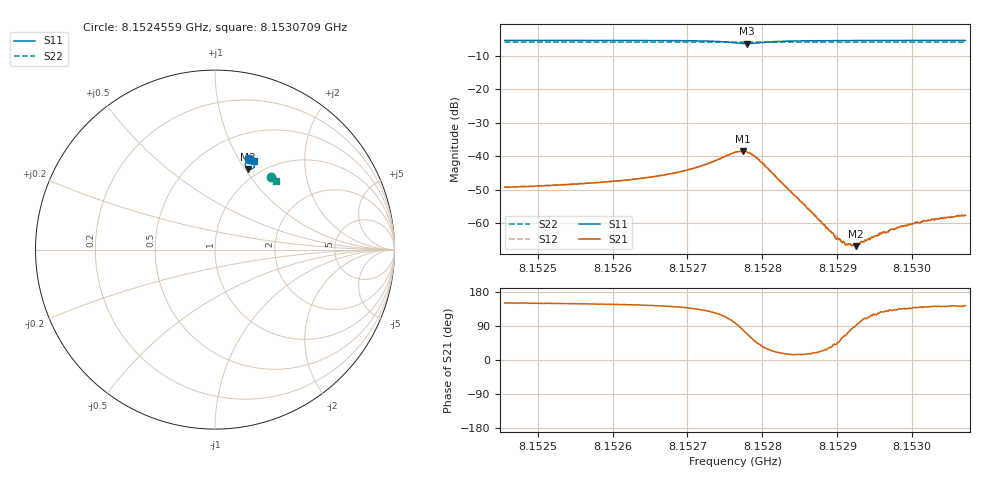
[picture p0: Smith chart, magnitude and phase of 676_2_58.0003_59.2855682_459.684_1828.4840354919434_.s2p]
#  HZ  S  RI  R  50.00
! Rohde & Schwarz Vector Network Analyzer
! Rohde-Schwarz,ZNB20-2Port,1311601062101988,3.16
! Created: UTC 3/21/2024, 1:20:40 AM
! freq[Hz]  re:S11  im:S11  re:S21  im:S21  re:S12  im:S12  re:S22  im:S22
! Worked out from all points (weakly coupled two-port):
!   401 points, 8.1524559 GHz to 8.1530709 GHz, reference 50 ohm
!   highest |S21| = -38.47 dB at 8.1527742 GHz (marker M1); lowest = -66.9 dB at 8.1529248 GHz (marker M2)
!   lowest |S11| = -6.3 dB at 8.1527788 GHz (marker M3), VSWR 2.89, Z = 44.2 + j51.9 ohm
!   |S11| at or under -10 dB: nowhere
!   |S22| runs from -5.9 to -5.8 dB; largest |S21 - S12| = 0.00042
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8.15245591e9  0.1882 0.5068  -0.00299 0.00169  -0.00298 0.00175  0.3093 0.4071
8.15255892e9  0.1971 0.5034  -0.0033 0.00205  -0.0033 0.00208  0.3144 0.4029
8.15261119e9  0.2024 0.5007  -0.00361 0.00238  -0.00359 0.00243  0.3171 0.4009
8.15266193e9  0.2085 0.4968  -0.00407 0.00308  -0.00407 0.00315  0.3196 0.3985
8.15270959e9  0.2164 0.4886  -0.00475 0.00468  -0.0047 0.00477  0.322 0.3962
8.15272957e9  0.2201 0.4809  -0.0049 0.00621  -0.00486 0.00636  0.3229 0.3951
8.1527634e9  0.2109 0.4526  -0.0016 0.0113  -0.00153 0.0114  0.3238 0.3929
8.15277416e9  0.1938 0.447  0.00223 0.0117  0.00235 0.0118  0.3234 0.3925
8.15277877e9  0.1855 0.4488  0.00395 0.011  0.00395 0.011  0.3234 0.3926
8.152788e9  0.1728 0.4591  0.00615 0.00824  0.00619 0.0084  0.3236 0.3929
8.1528003e9  0.169 0.4765  0.00636 0.00448  0.00648 0.00463  0.3244 0.3931
8.1528664e9  0.1933 0.4995  0.00136 0.000428  0.0014 0.000374  0.3285 0.3909
8.15289869e9  0.1996 0.4996  0.000429 0.000378  0.000472 0.000429  0.3302 0.3894
8.15290484e9  0.2006 0.4995  0.000305 0.000436  0.000335 0.000442  0.3307 0.3892
8.15291253e9  0.2018 0.4995  0.000175 0.000442  0.000167 0.000454  0.3309 0.3888
8.15292483e9  0.2035 0.4992  -9.85e-06 0.000451  8.08e-06 0.000469  0.3317 0.3883
8.15296019e9  0.2078 0.4982  -0.000436 0.000584  -0.00044 0.000582  0.3334 0.3867
8.15296941e9  0.2088 0.498  -0.000527 0.000579  -0.000472 0.000615  0.3339 0.3864
8.15298479e9  0.2105 0.4975  -0.000616 0.000639  -0.000625 0.000661  0.3346 0.3858
8.15300631e9  0.2127 0.497  -0.000761 0.000671  -0.000766 0.000705  0.3356 0.3848
8.15302937e9  0.2147 0.4963  -0.00087 0.000682  -0.000889 0.000749  0.3367 0.3837
8.15307088e9  0.2182 0.495  -0.00104 0.000779  -0.00105 0.000815  0.3389 0.382
